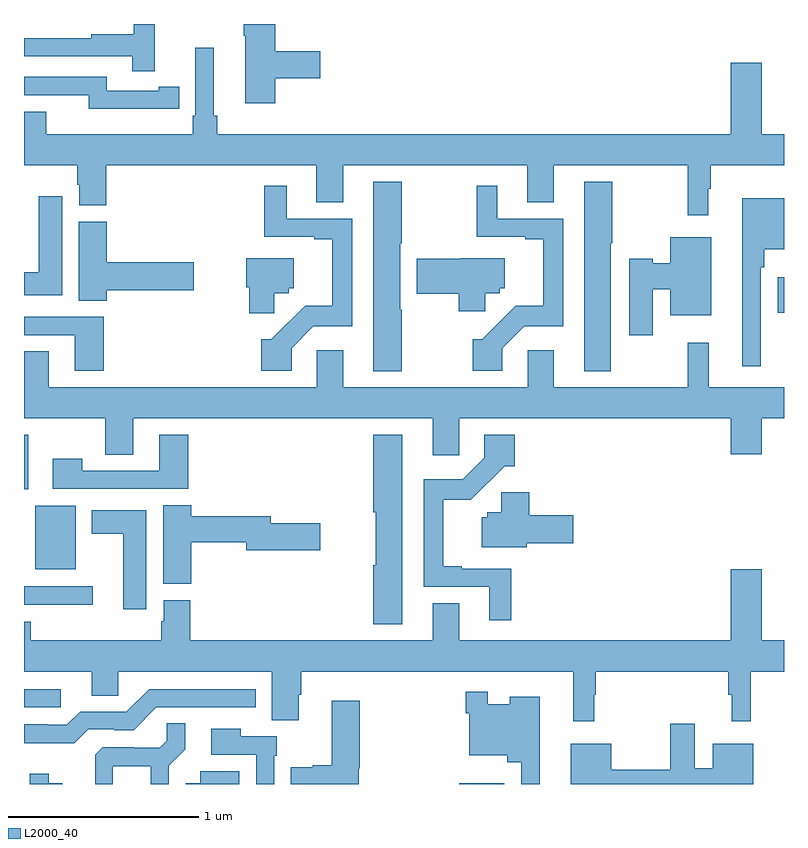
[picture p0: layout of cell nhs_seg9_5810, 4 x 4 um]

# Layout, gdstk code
import gdstk
lib = gdstk.Library(unit=1e-6, precision=1e-09)
def R(c, l, rs):  # rectangles x0, y0, x1, y1
    for r in rs: c.add(gdstk.rectangle(r[:2], r[2:], *l))
def P(c, l, *ps):  # polygons
    for p in ps: c.add(gdstk.Polygon(p, *l))
L2000_40 = (2000, 40)

nhs_seg9_5810 = lib.new_cell('nhs_seg9_5810')
R(nhs_seg9_5810, L2000_40, [(451.292,1190.5,451.528,1190.503), (449,1190.904,449.194,1191), (449,1191.443,449.362,1191.54), (449.06,1191.629,449.272,1191.964), (449,1192.052,449.023,1192.339), (452.966,1192.979,453,1193.167)])
P(nhs_seg9_5810, L2000_40, [(449.687,1194.5),(449.577,1194.5),(449.577,1194.446),(449.353,1194.446),(449.353,1194.426),(449,1194.426),(449,1194.33),(449.569,1194.33),(449.569,1194.252),(449.687,1194.252)],
  [(450.323,1194.214),(450.559,1194.214),(450.559,1194.356),(450.323,1194.356),(450.323,1194.5),(450.157,1194.5),(450.157,1194.439),(450.164,1194.439),(450.164,1194.084),(450.323,1194.084)],
  [(452.602,1193.633),(452.614,1193.633),(452.614,1193.756),(453,1193.756),(453,1193.92),(452.884,1193.92),(452.884,1194.295),(452.72,1194.295),(452.72,1193.92),(450.017,1193.92),(450.017,1194.016),(449.998,1194.016),(449.998,1194.376),(449.901,1194.376),(449.901,1194.016),(449.888,1194.016),(449.888,1193.92),(449.116,1193.92),(449.116,1194.037),(449,1194.037),(449,1193.756),(449.279,1193.756),(449.279,1193.655),(449.291,1193.655),(449.291,1193.545),(449.432,1193.545),(449.432,1193.756),(450.539,1193.756),(450.539,1193.562),(450.679,1193.562),(450.679,1193.756),(451.649,1193.756),(451.649,1193.562),(451.789,1193.562),(451.789,1193.756),(452.493,1193.756),(452.493,1193.493),(452.602,1193.493)],
  [(449.708,1194.054),(449.816,1194.054),(449.816,1194.17),(449.708,1194.17),(449.708,1194.15),(449.436,1194.15),(449.436,1194.222),(449,1194.222),(449,1194.126),(449.34,1194.126),(449.34,1194.053),(449.708,1194.053)],
  [(452.089,1193.347),(452.097,1193.347),(452.097,1193.671),(451.949,1193.671),(451.949,1192.673),(452.089,1192.673)],
  [(450.987,1192.997),(450.979,1192.997),(450.979,1193.347),(450.987,1193.347),(450.987,1193.671),(450.839,1193.671),(450.839,1192.673),(450.987,1192.673)],
  [(450.408,1192.794),(450.522,1192.908),(450.727,1192.908),(450.727,1193.475),(450.382,1193.475),(450.382,1193.65),(450.265,1193.65),(450.265,1193.379),(450.527,1193.379),(450.527,1193.367),(450.623,1193.367),(450.623,1193.018),(450.479,1193.018),(450.301,1192.84),(450.248,1192.84),(450.248,1192.674),(450.408,1192.674)],
  [(451.518,1192.794),(451.632,1192.908),(451.837,1192.908),(451.837,1193.475),(451.492,1193.475),(451.492,1193.65),(451.383,1193.65),(451.383,1193.379),(451.637,1193.379),(451.637,1193.367),(451.733,1193.367),(451.733,1193.018),(451.589,1193.018),(451.411,1192.84),(451.363,1192.84),(451.363,1192.674),(451.518,1192.674)],
  [(449.2,1193.593),(449.078,1193.593),(449.078,1193.194),(449,1193.194),(449,1193.072),(449.2,1193.072)],
  [(452.877,1193.219),(452.897,1193.219),(452.897,1193.315),(453,1193.315),(453,1193.584),(452.78,1193.584),(452.78,1192.698),(452.877,1192.698)],
  [(449.435,1193.099),(449.893,1193.099),(449.893,1193.246),(449.435,1193.246),(449.435,1193.46),(449.288,1193.46),(449.288,1193.044),(449.435,1193.044)],
  [(452.308,1193.104),(452.402,1193.104),(452.402,1192.967),(452.617,1192.967),(452.617,1193.377),(452.402,1193.377),(452.402,1193.24),(452.308,1193.24),(452.308,1193.264),(452.186,1193.264),(452.186,1192.863),(452.308,1192.863)],
  [(451.428,1193.082),(451.503,1193.082),(451.503,1193.109),(451.531,1193.109),(451.531,1193.266),(451.299,1193.266),(451.299,1193.264),(451.068,1193.264),(451.068,1193.081),(451.288,1193.081),(451.288,1192.988),(451.428,1192.988)],
  [(450.317,1193.082),(450.393,1193.082),(450.393,1193.109),(450.421,1193.109),(450.421,1193.266),(450.17,1193.266),(450.17,1193.115),(450.185,1193.115),(450.185,1192.977),(450.317,1192.977)],
  [(449.42,1192.959),(449,1192.959),(449,1192.863),(449.267,1192.863),(449.267,1192.674),(449.42,1192.674)],
  [(451.29,1192.424),(452.72,1192.424),(452.72,1192.236),(452.884,1192.236),(452.884,1192.424),(453,1192.424),(453,1192.588),(452.603,1192.588),(452.603,1192.822),(452.493,1192.822),(452.493,1192.588),(451.789,1192.588),(451.789,1192.783),(451.65,1192.783),(451.65,1192.588),(450.679,1192.588),(450.679,1192.783),(450.54,1192.783),(450.54,1192.588),(449.131,1192.588),(449.131,1192.778),(449,1192.778),(449,1192.424),(449.428,1192.424),(449.428,1192.234),(449.575,1192.234),(449.575,1192.424),(451.151,1192.424),(451.151,1192.23),(451.29,1192.23)],
  [(451.565,1191.633),(451.303,1191.633),(451.303,1191.646),(451.207,1191.646),(451.207,1191.995),(451.351,1191.995),(451.529,1192.172),(451.583,1192.172),(451.583,1192.339),(451.422,1192.339),(451.422,1192.218),(451.308,1192.104),(451.103,1192.104),(451.103,1191.537),(451.448,1191.537),(451.448,1191.363),(451.565,1191.363)],
  [(450.991,1192.339),(450.839,1192.339),(450.839,1191.929),(450.851,1191.929),(450.851,1191.651),(450.839,1191.651),(450.839,1191.341),(450.991,1191.341)],
  [(449.864,1192.339),(449.711,1192.339),(449.711,1192.149),(449.307,1192.149),(449.307,1192.213),(449.151,1192.213),(449.151,1192.053),(449.864,1192.053)],
  [(451.645,1191.767),(451.891,1191.767),(451.891,1191.914),(451.658,1191.914),(451.658,1192.035),(451.513,1192.035),(451.513,1191.93),(451.437,1191.93),(451.437,1191.903),(451.409,1191.903),(451.409,1191.746),(451.645,1191.746)],
  [(449.879,1191.772),(450.17,1191.772),(450.17,1191.73),(450.559,1191.73),(450.559,1191.872),(450.298,1191.872),(450.298,1191.908),(449.879,1191.908),(449.879,1191.968),(449.732,1191.968),(449.732,1191.553),(449.879,1191.553)],
  [(449.644,1191.94),(449.357,1191.94),(449.357,1191.818),(449.522,1191.818),(449.522,1191.42),(449.644,1191.42)],
  [(451.892,1190.829),(452.002,1190.829),(452.002,1190.969),(452.009,1190.969),(452.009,1191.092),(452.707,1191.092),(452.707,1190.969),(452.726,1190.969),(452.726,1190.829),(452.824,1190.829),(452.824,1191.092),(453,1191.092),(453,1191.256),(452.884,1191.256),(452.884,1191.631),(452.72,1191.631),(452.72,1191.256),(451.291,1191.256),(451.291,1191.451),(451.151,1191.451),(451.151,1191.256),(449.876,1191.256),(449.876,1191.468),(449.735,1191.468),(449.735,1191.357),(449.723,1191.357),(449.723,1191.256),(449.036,1191.256),(449.036,1191.355),(449,1191.355),(449,1191.092),(449.357,1191.092),(449.357,1190.965),(449.496,1190.965),(449.496,1191.092),(450.305,1191.092),(450.305,1190.836),(450.445,1190.836),(450.445,1190.97),(450.458,1190.97),(450.458,1191.092),(451.892,1191.092)],
  [(449.337,1190.787),(449.476,1190.787),(449.476,1190.784),(449.577,1190.784),(449.697,1190.904),(450.22,1190.904),(450.22,1191),(449.658,1191),(449.538,1190.88),(449.295,1190.88),(449.226,1190.811),(449.126,1190.811),(449.126,1190.814),(449,1190.814),(449,1190.714),(449.264,1190.714)],
  [(451.714,1190.959),(451.556,1190.959),(451.556,1190.92),(451.44,1190.92),(451.44,1190.986),(451.324,1190.986),(451.324,1190.873),(451.344,1190.873),(451.344,1190.651),(451.544,1190.651),(451.544,1190.615),(451.617,1190.615),(451.617,1190.5),(451.714,1190.5)],
  [(450.762,1190.583),(450.767,1190.583),(450.767,1190.938),(450.62,1190.938),(450.62,1190.6),(450.519,1190.6),(450.519,1190.587),(450.403,1190.587),(450.403,1190.5),(450.762,1190.5)],
  [(449.468,1190.594),(449.666,1190.594),(449.666,1190.5),(449.763,1190.5),(449.763,1190.597),(449.849,1190.683),(449.849,1190.819),(449.751,1190.819),(449.751,1190.728),(449.714,1190.691),(449.58,1190.691),(449.58,1190.694),(449.415,1190.694),(449.374,1190.653),(449.374,1190.5),(449.468,1190.5)],
  [(452.839,1190.713),(452.624,1190.713),(452.624,1190.582),(452.53,1190.582),(452.53,1190.818),(452.401,1190.818),(452.401,1190.576),(452.092,1190.576),(452.092,1190.713),(451.877,1190.713),(451.877,1190.5),(452.839,1190.5)],
  [(450.318,1190.648),(450.331,1190.648),(450.331,1190.751),(450.141,1190.751),(450.141,1190.791),(449.985,1190.791),(449.985,1190.655),(450.222,1190.655),(450.222,1190.5),(450.318,1190.5)],
  [(450.133,1190.566),(449.927,1190.566),(449.927,1190.503),(449.852,1190.503),(449.852,1190.5),(450.133,1190.5)],
  [(449.2,1190.504),(449.13,1190.504),(449.13,1190.554),(449.029,1190.554),(449.029,1190.5),(449.204,1190.5)])

lib.write_gds('nhs_seg9_5810.gds')
